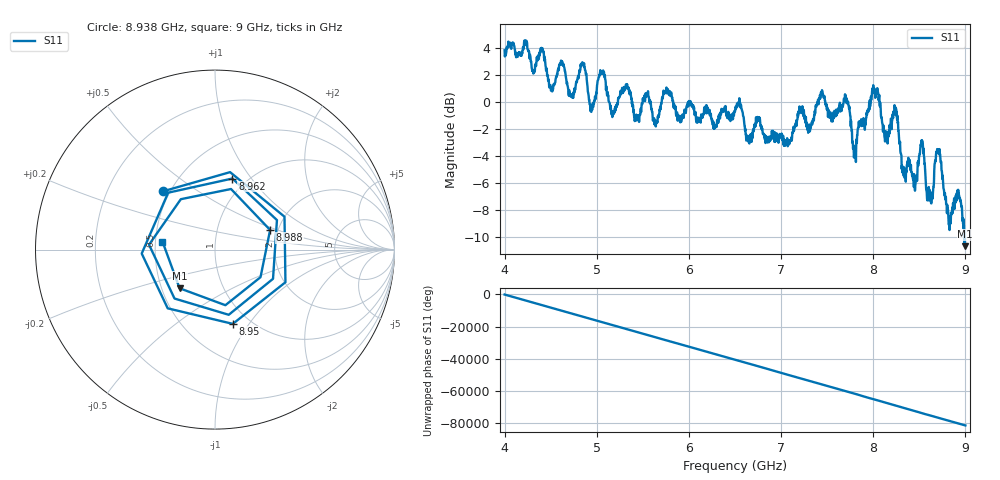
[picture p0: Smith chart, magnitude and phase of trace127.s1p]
! Created with skrf 1.8.0 (http://scikit-rf.org).
# Hz S RI R 50.0
!freq ReS11 ImS11
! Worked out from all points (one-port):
!   1601 points, 4 GHz to 9 GHz, reference 50 ohm
!   lowest |S11| = -10.7 dB at 8.997 GHz (marker M1), VSWR 1.83, Z = 30.9 - j14.6 ohm
!   |S11| at or under -10 dB: 8.988963 GHz to end of sweep
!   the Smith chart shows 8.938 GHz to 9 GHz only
!   S11 on the Smith chart (normalised r, x): 8.938 GHz: 0.46, +0.37; 8.95 GHz: 0.83, -0.84; 8.962 GHz: 0.86, +0.82; 8.988 GHz: 1.82, +0.44; 9 GHz: 0.55, +0.05
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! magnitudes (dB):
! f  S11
! 4 GHz  3.8
! 4.406 GHz  3.8
! 4.509 GHz  0.9
! 4.625 GHz  3.0
! 4.719 GHz  0.5
! 4.847 GHz  2.9
! 4.941 GHz  -0.8
! 5.053 GHz  2.2
! 5.169 GHz  -1.1
! 5.25 GHz  0.4
! 5.875 GHz  -1.2
! 6.5 GHz  -0.7
! 7.125 GHz  -2.2
! 7.447 GHz  0.8
! 7.75 GHz  -1.1
! 7.797 GHz  -4.1
! 8.025 GHz  0.3
! 8.375 GHz  -4.5
! 8.528 GHz  -3.2
! 8.622 GHz  -7.0
! 8.706 GHz  -3.5
! 8.816 GHz  -8.7
! 8.938 GHz  -7.2
! 8.95 GHz  -7.4
! 8.962 GHz  -7.8
! 8.988 GHz  -9.7
! 8.997 GHz  -10.7
! 9 GHz  -10.6
